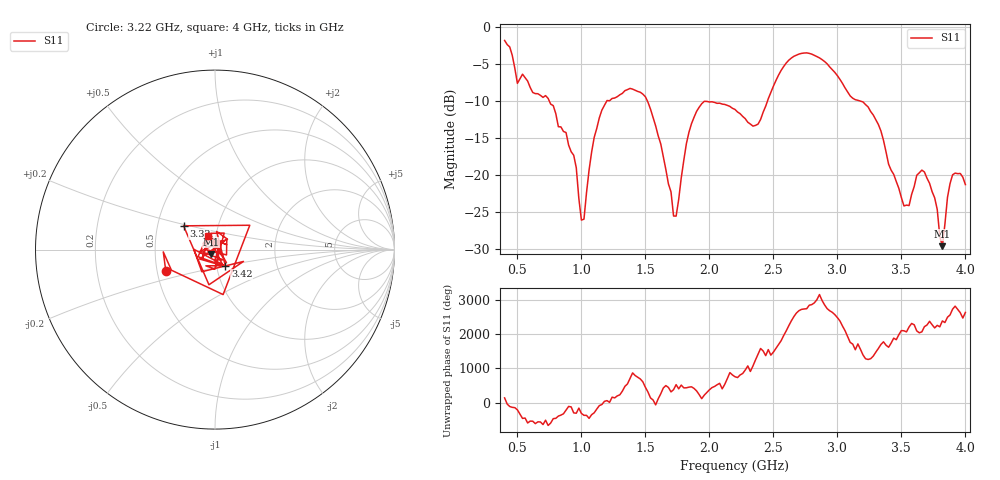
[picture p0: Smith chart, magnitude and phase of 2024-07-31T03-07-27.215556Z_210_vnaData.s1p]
!Created with skrf (http://scikit-rf.org).
# Hz S RI R 50.0
!freq ReS11 ImS11
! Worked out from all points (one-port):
!   181 points, 400 MHz to 4 GHz, reference 50 ohm
!   lowest |S11| = -29.6 dB at 3.82 GHz (marker M1), VSWR 1.07, Z = 47.7 - j2.32 ohm
!   |S11| at or under -10 dB: 749 MHz to 1.198 GHz (449.1 MHz wide, 46.1 % of centre); 1.516 GHz to 2.454 GHz (938.2 MHz wide, 47.3 % of centre); 3.178 GHz to end of sweep
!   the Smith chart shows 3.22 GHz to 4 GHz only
!   S11 on the Smith chart (normalised r, x): 3.22 GHz: 0.56, -0.15; 3.32 GHz: 0.68, +0.19; 3.42 GHz: 1.10, -0.20; 4 GHz: 0.92, +0.14
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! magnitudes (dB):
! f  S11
! 400 MHz  -1.8
! 500 MHz  -7.6
! 720 MHz  -9.3
! 860 MHz  -14.1
! 940 MHz  -17.3
! 1 GHz  -26.0
! 1.02 GHz  -25.9
! 1.14 GHz  -12.3
! 1.3 GHz  -9.2
! 1.5 GHz  -9.4
! 1.62 GHz  -15.8
! 1.72 GHz  -25.5
! 1.76 GHz  -23.3
! 1.82 GHz  -15.8
! 1.9 GHz  -11.4
! 2.2 GHz  -11.1
! 2.38 GHz  -13.1
! 2.66 GHz  -4.0
! 3.1 GHz  -9.3
! 3.22 GHz  -10.5
! 3.32 GHz  -13.2
! 3.42 GHz  -19.3
! 3.56 GHz  -24.1
! 3.68 GHz  -19.6
! 3.76 GHz  -23.0
! 3.82 GHz  -29.6
! 3.9 GHz  -19.9
! 4 GHz  -21.3
